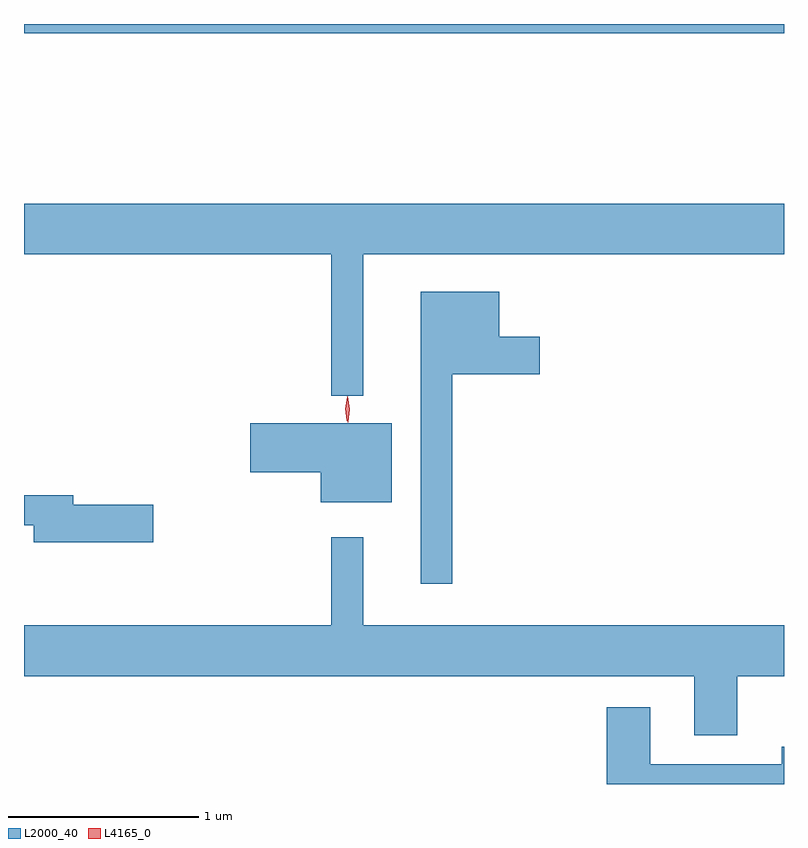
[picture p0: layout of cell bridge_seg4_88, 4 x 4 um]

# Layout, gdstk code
import gdstk
lib = gdstk.Library(unit=1e-6, precision=1e-09)
def R(c, l, rs):  # rectangles x0, y0, x1, y1
    for r in rs: c.add(gdstk.rectangle(r[:2], r[2:], *l))
def P(c, l, *ps):  # polygons
    for p in ps: c.add(gdstk.Polygon(p, *l))
L2000_40 = (2000, 40)
L4165_0 = (4165, 0)

bridge_seg4_88 = lib.new_cell('bridge_seg4_88')
R(bridge_seg4_88, L2000_40, [(1123.194,1378.041,1127.194,1378.089)])
P(bridge_seg4_88, L2000_40, [(1124.979,1376.876),(1127.194,1376.876),(1127.194,1377.144),(1123.194,1377.144),(1123.194,1376.876),(1124.811,1376.876),(1124.811,1376.133),(1124.979,1376.133)],
  [(1125.449,1376.246),(1125.909,1376.246),(1125.909,1376.444),(1125.694,1376.444),(1125.694,1376.679),(1125.281,1376.679),(1125.281,1375.143),(1125.449,1375.143)],
  [(1125.129,1375.989),(1124.386,1375.989),(1124.386,1375.731),(1124.756,1375.731),(1124.756,1375.571),(1125.129,1375.571)],
  [(1123.874,1375.559),(1123.454,1375.559),(1123.454,1375.609),(1123.194,1375.609),(1123.194,1375.451),(1123.246,1375.451),(1123.246,1375.361),(1123.874,1375.361)],
  [(1126.949,1374.656),(1127.194,1374.656),(1127.194,1374.924),(1124.979,1374.924),(1124.979,1375.388),(1124.811,1375.388),(1124.811,1374.924),(1123.194,1374.924),(1123.194,1374.656),(1126.721,1374.656),(1126.721,1374.346),(1126.949,1374.346)],
  [(1127.194,1374.284),(1127.181,1374.284),(1127.181,1374.194),(1126.489,1374.194),(1126.489,1374.494),(1126.261,1374.494),(1126.261,1374.089),(1127.194,1374.089)])
P(bridge_seg4_88, L4165_0, [(1124.893,1376),(1124.893,1376),(1124.884,1376.064),(1124.894,1376.126),(1124.895,1376.127),(1124.896,1376.126),(1124.904,1376.063),(1124.894,1376)],
  [(1124.899,1375.994),(1124.899,1375.994),(1124.889,1376.062),(1124.898,1376.13),(1124.898,1376.13),(1124.899,1376.13),(1124.909,1376.062),(1124.9,1375.994)])

lib.write_gds('bridge_seg4_88.gds')
